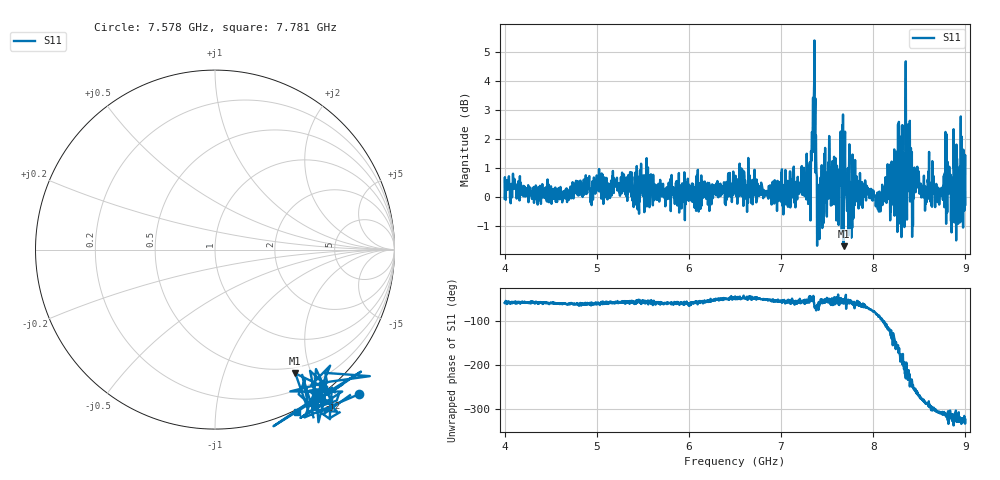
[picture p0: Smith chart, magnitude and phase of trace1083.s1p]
! Created with skrf 1.8.0 (http://scikit-rf.org).
# Hz S RI R 50.0
!freq ReS11 ImS11
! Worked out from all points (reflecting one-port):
!   1601 points, 4 GHz to 9 GHz, reference 50 ohm
!   lowest |S11| = -1.7 dB at 7.678 GHz (marker M1), VSWR 10.26, Z = 20.7 - j88.3 ohm
!   phase of S11 starts at -58 deg and turns -266 deg over the sweep
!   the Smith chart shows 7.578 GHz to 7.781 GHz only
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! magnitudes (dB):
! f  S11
! 4 GHz  -0.1
! 4.625 GHz  -0.2
! 5.25 GHz  0.1
! 5.875 GHz  -0.3
! 6.5 GHz  0.5
! 7.125 GHz  0.6
! 7.297 GHz  -0.2
! 7.356 GHz  3.4
! 7.381 GHz  1.3
! 7.4 GHz  0.3
! 7.412 GHz  -1.2
! 7.538 GHz  1.0
! 7.609 GHz  0.4
! 7.65 GHz  0.9
! 7.678 GHz  -1.7
! 7.75 GHz  0.4
! 8.075 GHz  -0.1
! 8.156 GHz  1.1
! 8.284 GHz  2.1
! 8.294 GHz  -0.1
! 8.316 GHz  1.7
! 8.334 GHz  0.3
! 8.347 GHz  0.7
! 8.375 GHz  1.7
! 8.447 GHz  1.0
! 8.712 GHz  0.2
! 8.959 GHz  2.1
! 9 GHz  -0.3
